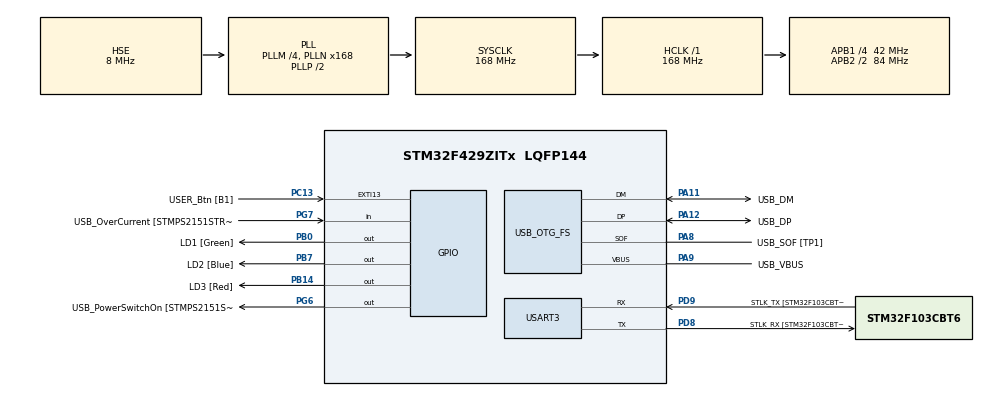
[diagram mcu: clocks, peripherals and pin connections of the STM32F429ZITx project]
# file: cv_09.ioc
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Mcu.Family=STM32F4
Mcu.Name=STM32F429ZITx
Mcu.Package=LQFP144
NVIC.OTG_FS_IRQn=true\:0\:0\:false\:false\:true\:false\:true
NVIC.PriorityGroup=NVIC_PRIORITYGROUP_4
PA1.GPIO_Label=RMII_REF_CLK [LAN8742A-CZ-TR_REFCLK0]
PA1.Signal=ETH_REF_CLK
PA10.GPIO_Label=USB_ID
PA10.Signal=USB_OTG_FS_ID
PA11.GPIO_Label=USB_DM
PA11.Mode=Device_Only
PA11.Signal=USB_OTG_FS_DM
PA12.GPIO_Label=USB_DP
PA12.Mode=Device_Only
PA12.Signal=USB_OTG_FS_DP
PA13.GPIO_Label=TMS
PA13.Mode=Serial_Wire
PA13.Signal=SYS_JTMS-SWDIO
PA14.GPIO_Label=TCK
PA14.Mode=Serial_Wire
PA14.Signal=SYS_JTCK-SWCLK
PA2.GPIO_Label=RMII_MDIO [LAN8742A-CZ-TR_MDIO]
PA2.Signal=ETH_MDIO
PA7.GPIO_Label=RMII_CRS_DV [LAN8742A-CZ-TR_CRS_DV]
PA7.Signal=ETH_CRS_DV
PA8.GPIO_Label=USB_SOF [TP1]
PA8.Mode=Activate_SOF_FS
PA8.Signal=USB_OTG_FS_SOF
PA9.GPIO_Label=USB_VBUS
PA9.Mode=Activate_VBUS
PA9.Signal=USB_OTG_FS_VBUS
PB0.GPIO_Label=LD1 [Green]
PB0.Signal=GPIO_Output
PB13.GPIO_Label=RMII_TXD1 [LAN8742A-CZ-TR_TXD1]
PB13.Signal=ETH_TXD1
PB14.GPIO_Label=LD3 [Red]
PB14.Signal=GPIO_Output
PB7.GPIO_Label=LD2 [Blue]
PB7.Signal=GPIO_Output
PC1.GPIO_Label=RMII_MDC [LAN8742A-CZ-TR_MDC]
PC1.Signal=ETH_MDC
PC13.GPIO_Label=USER_Btn [B1]
PC13.Signal=GPXTI13
PC14/OSC32_IN.Mode=LSE-External-Oscillator
PC14/OSC32_IN.Signal=RCC_OSC32_IN
PC15/OSC32_OUT.Mode=LSE-External-Oscillator
PC15/OSC32_OUT.Signal=RCC_OSC32_OUT
PC4.GPIO_Label=RMII_RXD0 [LAN8742A-CZ-TR_RXD0]
PC4.Signal=ETH_RXD0
PC5.GPIO_Label=RMII_RXD1 [LAN8742A-CZ-TR_RXD1]
PC5.Signal=ETH_RXD1
PD8.GPIO_Label=STLK_RX [STM32F103CBT6_PA3]
PD8.Mode=Asynchronous
PD8.Signal=USART3_TX
PD9.GPIO_Label=STLK_TX [STM32F103CBT6_PA2]
PD9.Mode=Asynchronous
PD9.Signal=USART3_RX
PG11.GPIO_Label=RMII_TX_EN [LAN8742A-CZ-TR_TXEN]
PG11.Signal=ETH_TX_EN
PG13.GPIO_Label=RMII_TXD0 [LAN8742A-CZ-TR_TXD0]
PG13.Signal=ETH_TXD0
PG6.GPIO_Label=USB_PowerSwitchOn [STMPS2151STR_EN]
PG6.Signal=GPIO_Output
PG7.GPIO_Label=USB_OverCurrent [STMPS2151STR_FAULT]
PG7.Signal=GPIO_Input
PH0/OSC_IN.GPIO_Label=MCO [STM32F103CBT6_PA8]
PH0/OSC_IN.Mode=HSE-External-Clock-Source
PH0/OSC_IN.Signal=RCC_OSC_IN
PH1/OSC_OUT.Mode=HSE-External-Clock-Source
PH1/OSC_OUT.Signal=RCC_OSC_OUT
ProjectManager.HeapSize=0x200
ProjectManager.StackSize=0x400
ProjectManager.TargetToolchain=STM32CubeIDE
RCC.48MHZClocksFreq_Value=48000000
RCC.AHBFreq_Value=168000000
RCC.APB1CLKDivider=RCC_HCLK_DIV4
RCC.APB1Freq_Value=42000000
RCC.APB1TimFreq_Value=84000000
RCC.APB2CLKDivider=RCC_HCLK_DIV2
RCC.APB2Freq_Value=84000000
RCC.APB2TimCLKDivider=2
RCC.APB2TimFreq_Value=168000000
RCC.CortexFreq_Value=168000000
RCC.HCLKFreq_Value=168000000
RCC.HSE_VALUE=8000000
RCC.HSI_VALUE=16000000
RCC.PLLM=4
RCC.PLLMUL=RCC_PLL_MUL9
RCC.PLLN=168
RCC.PLLQ=7
RCC.PRESCALERUSB=RCC_USBCLKSOURCE_PLL_DIV1_5
RCC.SYSCLKFreq_VALUE=168000000
RCC.SYSCLKSource=RCC_SYSCLKSOURCE_PLLCLK
RCC.SYSCLKSourceVirtual=RCC_SYSCLKSOURCE_PLLCLK
RCC.USBFreq_Value=48000000
RCC.VCOOutputFreq_Value=336000000
USART3.VirtualMode=VM_ASYNC
USB_DEVICE.CLASS_NAME_FS=HID
USB_DEVICE.VirtualMode-HID_FS=Hid
USB_DEVICE.VirtualModeFS=Hid_FS
USB_OTG_FS.VirtualMode=Device_Only
VP_USB_DEVICE_VS_USB_DEVICE_HID_FS.Mode=HID_FS
board=NUCLEO-F429ZI

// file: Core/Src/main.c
/* USER CODE BEGIN Header */
/**
  ******************************************************************************
  * @file           : main.c
  * @brief          : Main program body
  ******************************************************************************
  * @attention
  *
  * <h2><center>&copy; Copyright (c) 2021 STMicroelectronics.
  * All rights reserved.</center></h2>
  *
  * This software component is licensed by ST under BSD 3-Clause license,
  * the "License"; You may not use this file except in compliance with the
  * License. You may obtain a copy of the License at:
  *                        opensource.org/licenses/BSD-3-Clause
  *
  ******************************************************************************
  */
/* USER CODE END Header */
#include "main.h"
#include "usb_device.h"
#include "usbd_hid.h"
#include <math.h>

UART_HandleTypeDef huart3;

void SystemClock_Config(void);
static void MX_GPIO_Init(void);
static void MX_USART3_UART_Init(void);
/* USER CODE BEGIN PFP */
void circle_step(int16_t sx,int16_t sy,int16_t dx,int16_t dy,uint8_t r,int16_t new_phi);
void no_click();
/* USER CODE END PFP */

/* USER CODE BEGIN 0 */
extern USBD_HandleTypeDef hUsbDeviceFS;
/* USER CODE END 0 */

int main(void)
{

  /* MCU Configuration--------------------------------------------------------*/

  /* Reset of all peripherals, Initializes the Flash interface and the Systick. */
  HAL_Init();

  /* Configure the system clock */
  SystemClock_Config();

  /* Initialize all configured peripherals */
  MX_GPIO_Init();
  MX_USART3_UART_Init();
  MX_USB_DEVICE_Init();
  /* USER CODE BEGIN 2 */
  float_t nx, ny;
  static int16_t sx, sy, dx, dy;
  uint8_t r_face=200, r_smile = 150, r_eye = 20;
  /* USER CODE END 2 */

  /* Infinite loop */
  /* USER CODE BEGIN WHILE */
  while (1)
  {
	if(HAL_GPIO_ReadPin(USER_Btn_GPIO_Port, USER_Btn_Pin)){
		uint8_t buff[4];

		// VELKA KRUZNICE
		for (int16_t phi=0; phi<360; phi++){
			nx = r_face*cos((float_t)phi*(3.14159/180));
			dx = nx - sx;
			sx += dx;
			ny = r_face*sin((float_t)phi*(3.14159/180));
			dy = ny - sy;
			sy += dy;

			//circle_step(sx, sy, dx, dy, r, phi);
			buff[0] = 0x01; // stiskni leve tlacitko
			buff[1] = (int8_t)(dx); // posun X
			buff[2] = (int8_t)(dy); // posun Y
			buff[3] = 0; // bez scrollu
			USBD_HID_SendReport(&hUsbDeviceFS, buff, sizeof(buff));
			HAL_Delay(USBD_HID_GetPollingInterval(&hUsbDeviceFS));
		}
		no_click();

		//PUSA
		buff[0] = 0x00;
		buff[1] = (int8_t)(45); // posun X
		buff[2] = (int8_t)(0); // posun Y
		buff[3] = 0; // bez scrollu
		USBD_HID_SendReport(&hUsbDeviceFS, buff, sizeof(buff));
		HAL_Delay(USBD_HID_GetPollingInterval(&hUsbDeviceFS));
		for (int16_t phi=0; phi<180; phi++){
					nx = r_smile*cos((float_t)phi*(3.14159/180));
					dx = nx - sx;
					sx += dx;
					ny = r_smile*sin((float_t)phi*(3.14159/180));
					dy = ny - sy;
					sy += dy;

					//circle_step(sx, sy, dx, dy, r, phi);
					buff[0] = 0x01; // stiskni leve tlacitko
					buff[1] = (int8_t)(dx); // posun X
					buff[2] = (int8_t)(dy); // posun Y
					buff[3] = 0; // bez scrollu
					USBD_HID_SendReport(&hUsbDeviceFS, buff, sizeof(buff));
					HAL_Delay(USBD_HID_GetPollingInterval(&hUsbDeviceFS));
		}
		no_click();

		//LEVE OKO
		sx = 0; sy = 0;
		buff[0] = 0x00;
		buff[1] = (int8_t)(0); // posun X
		buff[2] = (int8_t)(-50); // posun Y
		buff[3] = 0; // bez scrollu
		USBD_HID_SendReport(&hUsbDeviceFS, buff, sizeof(buff));
		HAL_Delay(USBD_HID_GetPollingInterval(&hUsbDeviceFS));
		for (int16_t phi=0; phi<360; phi++){
					nx = r_eye*cos((float_t)phi*(3.14159/180));
					dx = nx - sx;
					sx += dx;
					ny = r_eye*sin((float_t)phi*(3.14159/180));
					dy = ny - sy;
					sy += dy;

					//circle_step(sx, sy, dx, dy, r, phi);
					buff[0] = 0x01; // stiskni leve tlacitko
					buff[1] = (int8_t)(dx); // posun X
					buff[2] = (int8_t)(dy); // posun Y
					buff[3] = 0; // bez scrollu
					USBD_HID_SendReport(&hUsbDeviceFS, buff, sizeof(buff));
					HAL_Delay(USBD_HID_GetPollingInterval(&hUsbDeviceFS));
		}
		no_click();

		//PRAVE OKO
		sx = 0; sy = 0;
		buff[0] = 0x00;
		buff[1] = (int8_t)(90); // posun X
		buff[2] = (int8_t)(0); // posun Y
		buff[3] = 0; // bez scrollu
		USBD_HID_SendReport(&hUsbDeviceFS, buff, sizeof(buff));
		HAL_Delay(USBD_HID_GetPollingInterval(&hUsbDeviceFS));
		for (int16_t phi=0; phi<360; phi++){
					nx = r_eye*cos((float_t)phi*(3.14159/180));
					dx = nx - sx;
					sx += dx;
					ny = r_eye*sin((float_t)phi*(3.14159/180));
					dy = ny - sy;
					sy += dy;

					//circle_step(sx, sy, dx, dy, r, phi);
					buff[0] = 0x01; // stiskni leve tlacitko
					buff[1] = (int8_t)(dx); // posun X
					buff[2] = (int8_t)(dy); // posun Y
					buff[3] = 0; // bez scrollu
					USBD_HID_SendReport(&hUsbDeviceFS, buff, sizeof(buff));
					HAL_Delay(USBD_HID_GetPollingInterval(&hUsbDeviceFS));
		}
		no_click();

		//NOS
		//sx = 0; sy = 0;
		buff[0] = 0x01;
		buff[1] = (int8_t)(-70); // posun X
		buff[2] = (int8_t)(20); // posun Y
		buff[3] = 0; // bez scrollu
		USBD_HID_SendReport(&hUsbDeviceFS, buff, sizeof(buff));
		HAL_Delay(USBD_HID_GetPollingInterval(&hUsbDeviceFS));

		buff[0] = 0x00;
		buff[1] = (int8_t)(0); // posun X
		buff[2] = (int8_t)(50); // posun Y
		buff[3] = 0; // bez scrollu
		USBD_HID_SendReport(&hUsbDeviceFS, buff, sizeof(buff));
		HAL_Delay(USBD_HID_GetPollingInterval(&hUsbDeviceFS));

		no_click();

	}

    /* USER CODE END WHILE */

  }
}

void SystemClock_Config(void)
{
  RCC_OscInitTypeDef RCC_OscInitStruct = {0};
  RCC_ClkInitTypeDef RCC_ClkInitStruct = {0};

  /** Configure the main internal regulator output voltage
  */
  __HAL_RCC_PWR_CLK_ENABLE();
  __HAL_PWR_VOLTAGESCALING_CONFIG(PWR_REGULATOR_VOLTAGE_SCALE1);
  /** Initializes the RCC Oscillators according to the specified parameters
  * in the RCC_OscInitTypeDef structure.
  */
  RCC_OscInitStruct.OscillatorType = RCC_OSCILLATORTYPE_HSE;
  RCC_OscInitStruct.HSEState = RCC_HSE_BYPASS;
  RCC_OscInitStruct.PLL.PLLState = RCC_PLL_ON;
  RCC_OscInitStruct.PLL.PLLSource = RCC_PLLSOURCE_HSE;
  RCC_OscInitStruct.PLL.PLLM = 4;
  RCC_OscInitStruct.PLL.PLLN = 168;
  RCC_OscInitStruct.PLL.PLLP = RCC_PLLP_DIV2;
  RCC_OscInitStruct.PLL.PLLQ = 7;
  if (HAL_RCC_OscConfig(&RCC_OscInitStruct) != HAL_OK)
  {
    Error_Handler();
  }
  /** Initializes the CPU, AHB and APB buses clocks
  */
  RCC_ClkInitStruct.ClockType = RCC_CLOCKTYPE_HCLK|RCC_CLOCKTYPE_SYSCLK
                              |RCC_CLOCKTYPE_PCLK1|RCC_CLOCKTYPE_PCLK2;
  RCC_ClkInitStruct.SYSCLKSource = RCC_SYSCLKSOURCE_PLLCLK;
  RCC_ClkInitStruct.AHBCLKDivider = RCC_SYSCLK_DIV1;
  RCC_ClkInitStruct.APB1CLKDivider = RCC_HCLK_DIV4;
  RCC_ClkInitStruct.APB2CLKDivider = RCC_HCLK_DIV2;

  if (HAL_RCC_ClockConfig(&RCC_ClkInitStruct, FLASH_LATENCY_5) != HAL_OK)
  {
    Error_Handler();
  }
}

static void MX_USART3_UART_Init(void)
{

  huart3.Instance = USART3;
  huart3.Init.BaudRate = 115200;
  huart3.Init.WordLength = UART_WORDLENGTH_8B;
  huart3.Init.StopBits = UART_STOPBITS_1;
  huart3.Init.Parity = UART_PARITY_NONE;
  huart3.Init.Mode = UART_MODE_TX_RX;
  huart3.Init.HwFlowCtl = UART_HWCONTROL_NONE;
  huart3.Init.OverSampling = UART_OVERSAMPLING_16;
  if (HAL_UART_Init(&huart3) != HAL_OK)
  {
    Error_Handler();
  }

}

static void MX_GPIO_Init(void)
{
  GPIO_InitTypeDef GPIO_InitStruct = {0};

  /* GPIO Ports Clock Enable */
  __HAL_RCC_GPIOC_CLK_ENABLE();
  __HAL_RCC_GPIOH_CLK_ENABLE();
  __HAL_RCC_GPIOA_CLK_ENABLE();
  __HAL_RCC_GPIOB_CLK_ENABLE();
  __HAL_RCC_GPIOD_CLK_ENABLE();
  __HAL_RCC_GPIOG_CLK_ENABLE();

  /*Configure GPIO pin Output Level */
  HAL_GPIO_WritePin(GPIOB, LD1_Pin|LD3_Pin|LD2_Pin, GPIO_PIN_RESET);

  /*Configure GPIO pin Output Level */
  HAL_GPIO_WritePin(USB_PowerSwitchOn_GPIO_Port, USB_PowerSwitchOn_Pin, GPIO_PIN_RESET);

  /*Configure GPIO pin : USER_Btn_Pin */
  GPIO_InitStruct.Pin = USER_Btn_Pin;
  GPIO_InitStruct.Mode = GPIO_MODE_IT_RISING;
  GPIO_InitStruct.Pull = GPIO_NOPULL;
  HAL_GPIO_Init(USER_Btn_GPIO_Port, &GPIO_InitStruct);

  /*Configure GPIO pins : RMII_MDC_Pin RMII_RXD0_Pin RMII_RXD1_Pin */
  GPIO_InitStruct.Pin = RMII_MDC_Pin|RMII_RXD0_Pin|RMII_RXD1_Pin;
  GPIO_InitStruct.Mode = GPIO_MODE_AF_PP;
  GPIO_InitStruct.Pull = GPIO_NOPULL;
  GPIO_InitStruct.Speed = GPIO_SPEED_FREQ_VERY_HIGH;
  GPIO_InitStruct.Alternate = GPIO_AF11_ETH;
  HAL_GPIO_Init(GPIOC, &GPIO_InitStruct);

  /*Configure GPIO pins : RMII_REF_CLK_Pin RMII_MDIO_Pin RMII_CRS_DV_Pin */
  GPIO_InitStruct.Pin = RMII_REF_CLK_Pin|RMII_MDIO_Pin|RMII_CRS_DV_Pin;
  GPIO_InitStruct.Mode = GPIO_MODE_AF_PP;
  GPIO_InitStruct.Pull = GPIO_NOPULL;
  GPIO_InitStruct.Speed = GPIO_SPEED_FREQ_VERY_HIGH;
  GPIO_InitStruct.Alternate = GPIO_AF11_ETH;
  HAL_GPIO_Init(GPIOA, &GPIO_InitStruct);

  /*Configure GPIO pins : LD1_Pin LD3_Pin LD2_Pin */
  GPIO_InitStruct.Pin = LD1_Pin|LD3_Pin|LD2_Pin;
  GPIO_InitStruct.Mode = GPIO_MODE_OUTPUT_PP;
  GPIO_InitStruct.Pull = GPIO_NOPULL;
  GPIO_InitStruct.Speed = GPIO_SPEED_FREQ_LOW;
  HAL_GPIO_Init(GPIOB, &GPIO_InitStruct);

  /*Configure GPIO pin : RMII_TXD1_Pin */
  GPIO_InitStruct.Pin = RMII_TXD1_Pin;
  GPIO_InitStruct.Mode = GPIO_MODE_AF_PP;
  GPIO_InitStruct.Pull = GPIO_NOPULL;
  GPIO_InitStruct.Speed = GPIO_SPEED_FREQ_VERY_HIGH;
  GPIO_InitStruct.Alternate = GPIO_AF11_ETH;
  HAL_GPIO_Init(RMII_TXD1_GPIO_Port, &GPIO_InitStruct);

  /*Configure GPIO pin : USB_PowerSwitchOn_Pin */
  GPIO_InitStruct.Pin = USB_PowerSwitchOn_Pin;
  GPIO_InitStruct.Mode = GPIO_MODE_OUTPUT_PP;
  GPIO_InitStruct.Pull = GPIO_NOPULL;
  GPIO_InitStruct.Speed = GPIO_SPEED_FREQ_LOW;
  HAL_GPIO_Init(USB_PowerSwitchOn_GPIO_Port, &GPIO_InitStruct);

  /*Configure GPIO pin : USB_OverCurrent_Pin */
  GPIO_InitStruct.Pin = USB_OverCurrent_Pin;
  GPIO_InitStruct.Mode = GPIO_MODE_INPUT;
  GPIO_InitStruct.Pull = GPIO_NOPULL;
  HAL_GPIO_Init(USB_OverCurrent_GPIO_Port, &GPIO_InitStruct);

  /*Configure GPIO pins : RMII_TX_EN_Pin RMII_TXD0_Pin */
  GPIO_InitStruct.Pin = RMII_TX_EN_Pin|RMII_TXD0_Pin;
  GPIO_InitStruct.Mode = GPIO_MODE_AF_PP;
  GPIO_InitStruct.Pull = GPIO_NOPULL;
  GPIO_InitStruct.Speed = GPIO_SPEED_FREQ_VERY_HIGH;
  GPIO_InitStruct.Alternate = GPIO_AF11_ETH;
  HAL_GPIO_Init(GPIOG, &GPIO_InitStruct);

}

void Error_Handler(void)
{
  __disable_irq();
  while (1)
  {
  }
}

void circle_step(int16_t sx,int16_t sy,int16_t dx,int16_t dy,uint8_t r,int16_t new_phi){
	float_t nx = r*cos((float_t)new_phi*(3.14159/180));
	dx = nx - sx;
	sx += dx;
	float_t ny = r*sin((float_t)new_phi*(3.14159/180));
	dy = ny - sy;
	sy += dy;
}

void no_click(){
	uint8_t buff[4];
	buff[0] = 0x00; // stiskni leve tlacitko
	buff[1] = (int8_t)(0); // posun X
	buff[2] = (int8_t)(0); // posun Y
	buff[3] = 0; // bez scrollu
	USBD_HID_SendReport(&hUsbDeviceFS, buff, sizeof(buff));
	HAL_Delay(USBD_HID_GetPollingInterval(&hUsbDeviceFS));
}

/************************ (C) COPYRIGHT STMicroelectronics *****END OF FILE****/
